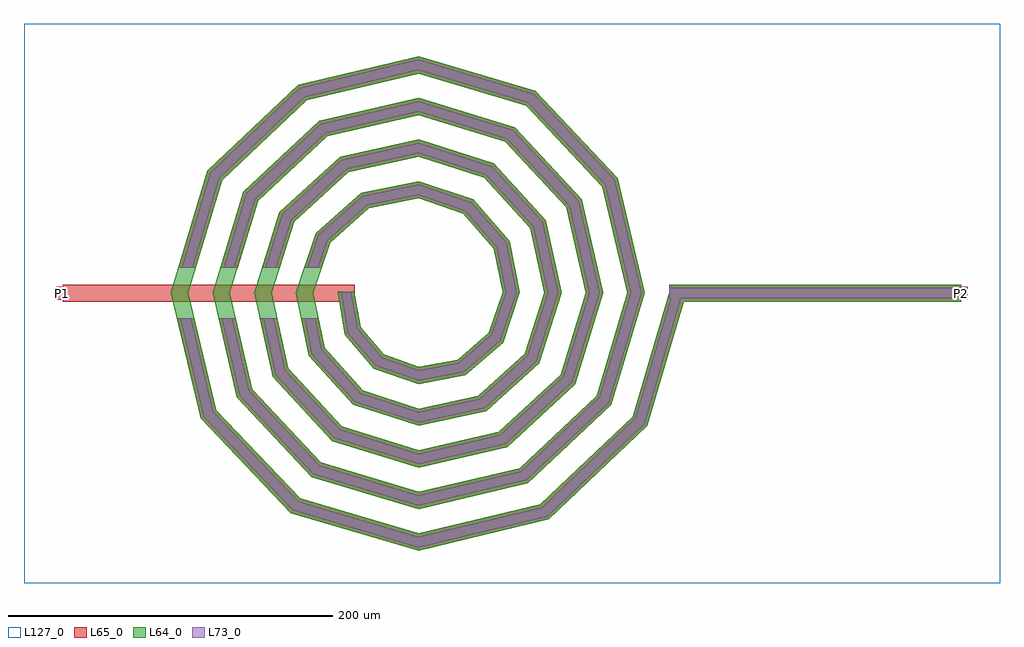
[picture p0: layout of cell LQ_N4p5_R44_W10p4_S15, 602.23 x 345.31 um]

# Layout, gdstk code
import gdstk
lib = gdstk.Library(unit=1e-6, precision=1e-09)
def R(c, l, rs):  # rectangles x0, y0, x1, y1
    for r in rs: c.add(gdstk.rectangle(r[:2], r[2:], *l))
def P(c, l, *ps):  # polygons
    for p in ps: c.add(gdstk.Polygon(p, *l))
L64_0 = (64, 0)
L65_0 = (65, 0)
L73_0 = (73, 0)
L127_0 = (127, 0)

lq_n4p5_r44_w10p4_s15 = lib.new_cell('LQ_N4p5_R44_W10p4_S15')
R(lq_n4p5_r44_w10p4_s15, L64_0, [(154.919,-5.2,334.919,5.2)])
P(lq_n4p5_r44_w10p4_s15, L64_0, [(-35.52,-21.038),(-21.329,-37.822),(0.421,-45.559),(24.2,-41.106),(43.356,-24.583),(51.979,0.374),(46.688,27.372),(27.828,48.897),(0.337,58.4),(-30.553,52.267),(-54.441,31.067),(-64.822,0.306),(-57.842,-33.738),(-34.301,-59.989),(0.28,-71.243),(36.928,-63.416),(65.539,-37.532),(77.665,0.259),(68.988,40.122),(40.76,71.091),(0.24,84.088),(-43.317,74.559),(-76.645,43.986),(-90.51,0.224),(-80.128,-46.515),(-47.21,-82.199),(0.21,-96.932),(49.715,-85.697),(87.755,-50.432),(103.355,0.198),(91.265,52.916),(53.654,93.311),(0.187,109.778),(-56.118,96.833),(-98.868,56.874),(-116.2,0.177),(-102.4,-59.321),(-60.093,-104.426),(0.168,-122.623),(62.525,-107.966),(109.984,-63.312),(129.046,0.16),(113.532,65.73),(66.53,115.543),(0.153,135.469),(-68.935,119.098),(-121.101,69.747),(-141.891,0.146),(-124.664,-72.141),(-72.964,-126.661),(0.14,-148.314),(75.347,-130.229),(132.22,-76.18),(155.132,1.472),(165.107,-1.472),(141.406,-81.798),(80.49,-139.689),(0.14,-159.078),(-78.591,-135.84),(-134.129,-77.273),(-152.655,0.146),(-130.275,75.385),(-74.056,128.57),(0.153,146.232),(72.18,124.709),(123.011,70.838),(139.809,0.16),(119.142,-68.975),(67.62,-117.452),(0.168,-133.385),(-65.77,-113.576),(-111.894,-64.401),(-126.962,0.177),(-108.008,62.566),(-61.181,106.336),(0.187,120.539),(59.364,102.44),(100.778,57.96),(114.116,0.198),(96.872,-56.162),(54.739,-95.221),(0.21,-107.692),(-52.961,-91.303),(-89.665,-51.515),(-101.269,0.224),(-85.732,49.762),(-48.29,84.11),(0.24,94.845),(46.565,80.161),(78.556,45.063),(88.422,0.259),(74.588,-43.37),(41.833,-73.003),(0.28,-81.998),(-40.178,-69.013),(-67.452,-38.6),(-75.573,0.306),(-63.436,36.989),(-35.363,61.902),(0.337,69.149),(33.805,57.856),(56.356,32.12),(62.724,0.374),(52.271,-30.628),(28.87,-50.813),(0.421,-56.298),(-27.459,-46.68),(-45.275,-25.608),(-49.627,0.902),(-39.384,0.902)])
R(lq_n4p5_r44_w10p4_s15, L65_0, [(-219.306,-5.2,-39.306,5.2), (154.919,-5.2,334.919,5.2), (-223.306,-4,-215.306,4), (330.919,-4,338.919,4)])
P(lq_n4p5_r44_w10p4_s15, L65_0, [(-124.664,-72.141),(-72.964,-126.661),(0.14,-148.314),(75.347,-130.229),(132.22,-76.18),(155.132,1.472),(165.107,-1.472),(141.406,-81.798),(80.49,-139.689),(0.14,-159.078),(-78.591,-135.84),(-134.129,-77.273),(-148.887,-15.6),(-138.193,-15.6)],
  [(-102.4,-59.321),(-60.093,-104.426),(0.168,-122.623),(62.525,-107.966),(109.984,-63.312),(129.046,0.16),(113.532,65.73),(66.53,115.543),(0.153,135.469),(-68.935,119.098),(-121.102,69.747),(-137.208,15.6),(-148.058,15.6),(-130.275,75.385),(-74.056,128.57),(0.153,146.232),(72.18,124.709),(123.011,70.839),(139.809,0.16),(119.142,-68.975),(67.62,-117.452),(0.168,-133.385),(-65.77,-113.576),(-111.894,-64.401),(-123.281,-15.6),(-112.602,-15.6)],
  [(-80.128,-46.515),(-47.21,-82.199),(0.21,-96.932),(49.715,-85.697),(87.755,-50.432),(103.355,0.198),(91.265,52.916),(53.654,93.311),(0.187,109.778),(-56.118,96.833),(-98.868,56.874),(-111.407,15.6),(-122.277,15.6),(-108.008,62.566),(-61.181,106.336),(0.187,120.539),(59.364,102.44),(100.778,57.961),(114.116,0.198),(96.872,-56.162),(54.739,-95.221),(0.21,-107.692),(-52.961,-91.303),(-89.665,-51.515),(-97.72,-15.6),(-87.062,-15.6)],
  [(-57.842,-33.738),(-34.302,-59.989),(0.28,-71.243),(36.928,-63.416),(65.539,-37.532),(77.665,0.259),(68.988,40.122),(40.76,71.091),(0.24,84.088),(-43.317,74.559),(-76.645,43.986),(-85.547,15.6),(-96.447,15.6),(-85.732,49.762),(-48.29,84.11),(0.24,94.845),(46.565,80.161),(78.556,45.063),(88.422,0.259),(74.588,-43.37),(41.833,-73.003),(0.28,-81.998),(-40.178,-69.013),(-67.452,-38.6),(-72.253,-15.6),(-61.629,-15.6)],
  [(-21.329,-37.822),(0.421,-45.559),(24.2,-41.107),(43.356,-24.583),(51.979,0.374),(46.688,27.372),(27.828,48.897),(0.337,58.4),(-30.553,52.267),(-54.441,31.067),(-59.559,15.6),(-70.513,15.6),(-63.436,36.989),(-35.363,61.902),(0.337,69.149),(33.805,57.856),(56.356,32.12),(62.724,0.374),(52.271,-30.628),(28.87,-50.813),(0.421,-56.298),(-27.459,-46.68),(-45.275,-25.608),(-49.627,0.902),(-39.385,0.902),(-35.52,-21.038)])
R(lq_n4p5_r44_w10p4_s15, L73_0, [(154.919,-3.2,334.919,3.2)])
P(lq_n4p5_r44_w10p4_s15, L73_0, [(-126.484,-73.128),(-74.046,-128.426),(0.086,-150.384),(76.336,-132.048),(133.987,-77.261),(157.05,0.906),(163.188,0.906),(139.639,-80.718),(79.501,-137.87),(0.086,-157.008),(-77.509,-134.075),(-132.309,-76.286),(-146.831,-15.6),(-140.25,-15.6)],
  [(-104.225,-60.298),(-61.185,-106.186),(0.103,-124.693),(63.505,-109.79),(111.745,-64.401),(131.116,0.098),(115.355,66.712),(67.616,117.305),(0.094,137.538),(-69.92,120.92),(-122.866,70.831),(-139.294,15.6),(-145.971,15.6),(-128.511,74.301),(-73.071,126.748),(0.094,144.162),(71.093,122.946),(121.188,69.856),(137.739,0.098),(117.381,-67.886),(66.64,-115.628),(0.103,-131.316),(-64.678,-111.816),(-110.068,-63.424),(-121.227,-15.6),(-114.655,-15.6)],
  [(-81.962,-47.477),(-48.316,-83.95),(0.129,-99.002),(50.681,-87.529),(89.508,-51.534),(105.424,0.122),(93.095,53.886),(54.752,95.067),(0.115,111.847),(-57.092,98.66),(-100.626,57.969),(-113.498,15.6),(-120.186,15.6),(-106.251,61.472),(-60.208,104.508),(0.115,118.47),(58.266,100.685),(98.949,56.99),(112.046,0.122),(95.119,-55.06),(53.772,-93.39),(0.129,-105.623),(-51.855,-89.552),(-87.831,-50.554),(-95.67,-15.6),(-89.111,-15.6)],
  [(-59.69,-34.673),(-35.432,-61.724),(0.173,-73.311),(37.872,-65.26),(67.279,-38.655),(79.734,0.159),(70.828,41.072),(41.877,72.835),(0.148,86.156),(-44.274,76.395),(-78.392,45.097),(-87.643,15.6),(-94.351,15.6),(-83.985,48.652),(-47.334,82.273),(0.148,92.777),(45.449,78.417),(76.716,44.113),(86.353,0.159),(72.848,-42.248),(40.89,-71.159),(0.173,-79.93),(-39.048,-67.278),(-65.604,-37.665),(-70.21,-15.6),(-63.672,-15.6)],
  [(-22.508,-39.526),(0.259,-47.624),(25.098,-42.973),(45.071,-25.745),(54.046,0.23),(48.548,28.285),(28.978,50.62),(0.207,60.467),(-31.478,54.12),(-56.171,32.206),(-61.665,15.6),(-68.407,15.6),(-61.706,35.851),(-34.438,60.049),(0.207,67.082),(32.656,56.133),(54.497,31.207),(60.658,0.23),(50.557,-29.465),(27.972,-48.946),(0.259,-54.233),(-26.28,-44.977),(-43.399,-24.73),(-47.657,0.555),(-41.354,0.555),(-37.396,-21.917)])
R(lq_n4p5_r44_w10p4_s15, L127_0, [(-243.306,-179.078,358.919,166.232)])
lq_n4p5_r44_w10p4_s15.add(gdstk.Label('P2', (334.919,0), layer=65, texttype=0))
lq_n4p5_r44_w10p4_s15.add(gdstk.Label('P1', (-219.306,0), layer=65, texttype=0))
lq_n4p5_r44_w10p4_s15.add(gdstk.Label('P2', (338.919,0), layer=145, texttype=0))
lq_n4p5_r44_w10p4_s15.add(gdstk.Label('P1', (-223.306,0), layer=145, texttype=0))

lib.write_gds('LQ_N4p5_R44_W10p4_S15.gds')
